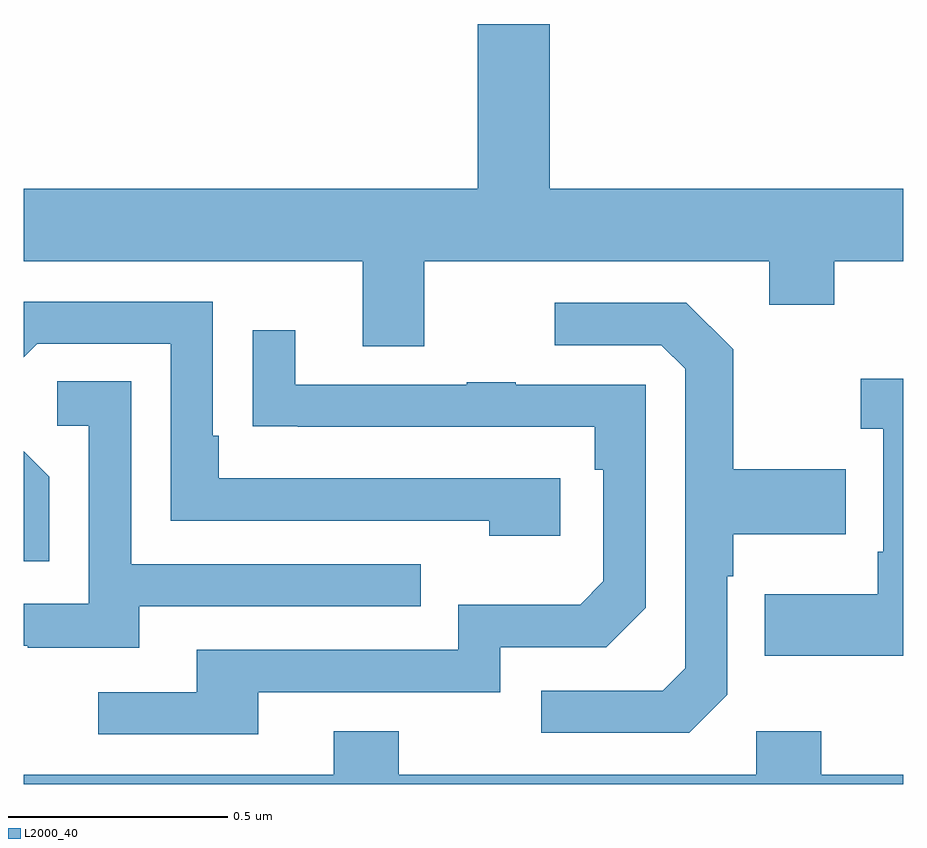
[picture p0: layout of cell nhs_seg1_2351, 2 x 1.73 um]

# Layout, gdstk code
import gdstk
lib = gdstk.Library(unit=1e-6, precision=1e-09)
def P(c, l, *ps):  # polygons
    for p in ps: c.add(gdstk.Polygon(p, *l))
L2000_40 = (2000, 40)

nhs_seg1_2351 = lib.new_cell('nhs_seg1_2351')
P(nhs_seg1_2351, L2000_40, [(140.911,562.388),(141.695,562.388),(141.695,562.289),(141.843,562.289),(141.843,562.388),(142,562.388),(142,562.552),(141.196,562.552),(141.196,562.927),(141.032,562.927),(141.032,562.552),(140,562.552),(140,562.388),(140.771,562.388),(140.771,562.194),(140.911,562.194)],
  [(141.22,561.894),(140.443,561.894),(140.443,561.991),(140.43,561.991),(140.43,562.296),(140,562.296),(140,562.169),(140.031,562.2),(140.334,562.2),(140.334,561.798),(141.059,561.798),(141.059,561.764),(141.22,561.764)],
  [(141.6,561.402),(141.6,561.671),(141.613,561.671),(141.613,561.767),(141.869,561.767),(141.869,561.915),(141.613,561.915),(141.613,562.187),(141.507,562.293),(141.207,562.293),(141.207,562.197),(141.45,562.197),(141.504,562.143),(141.504,561.462),(141.453,561.411),(141.177,561.411),(141.177,561.315),(141.513,561.315)],
  [(140.533,561.408),(141.084,561.408),(141.084,561.51),(141.324,561.51),(141.414,561.6),(141.414,562.107),(141.119,562.107),(141.119,562.112),(141.007,562.112),(141.007,562.107),(140.617,562.107),(140.617,562.231),(140.521,562.231),(140.521,562.012),(140.623,562.012),(140.623,562.011),(141.298,562.011),(141.298,561.914),(141.318,561.914),(141.318,561.66),(141.265,561.607),(140.988,561.607),(140.988,561.504),(140.393,561.504),(140.393,561.408),(140.169,561.408),(140.169,561.312),(140.533,561.312)],
  [(142,562.12),(141.903,562.12),(141.903,562.007),(141.954,562.007),(141.954,561.727),(141.942,561.727),(141.942,561.631),(141.685,561.631),(141.685,561.491),(142,561.491)],
  [(140.263,561.603),(140.903,561.603),(140.903,561.699),(140.244,561.699),(140.244,562.115),(140.076,562.115),(140.076,562.014),(140.148,562.014),(140.148,561.609),(140,561.609),(140,561.513),(140.009,561.513),(140.009,561.509),(140.263,561.509)],
  [(140.058,561.898),(140,561.956),(140,561.705),(140.058,561.705)],
  [(142,561.22),(141.813,561.22),(141.813,561.319),(141.666,561.319),(141.666,561.22),(140.853,561.22),(140.853,561.319),(140.705,561.319),(140.705,561.22),(140,561.22),(140,561.199),(142,561.199)])

lib.write_gds('nhs_seg1_2351.gds')
